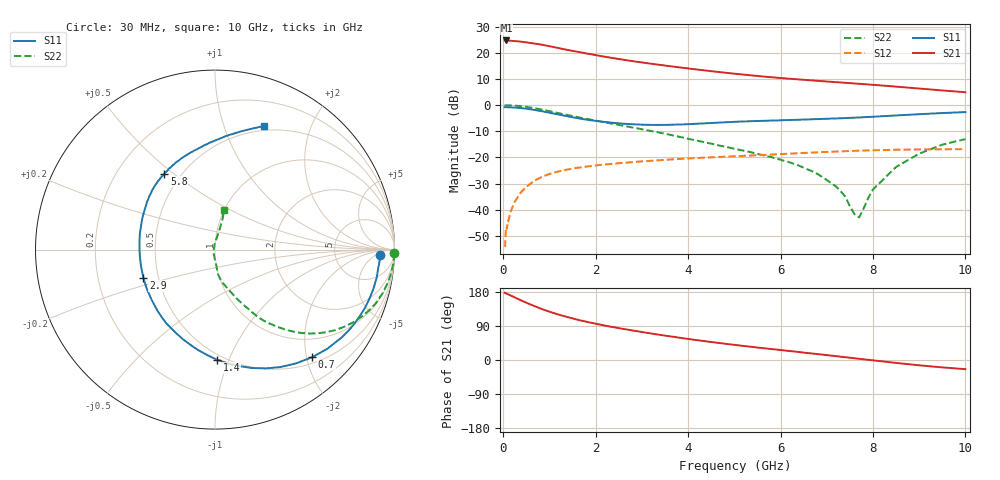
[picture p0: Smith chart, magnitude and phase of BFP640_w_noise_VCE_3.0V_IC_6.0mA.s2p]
! (c) 2013  Infineon Technologies AG, Munich
! Infineon Technologies  Discrete & RF Semiconductors
! BFP640
! VCE =  3.0 V,  IC =  6.0 mA
! Common Emitter S-Parameters:  Apr 2013
# GHz  S  MA  R  50
!  f  S11  S21  S12  S22
! GHz  MAG  ANG  MAG  ANG  MAG  ANG  MAG  ANG
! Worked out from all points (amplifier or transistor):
!   99 points, 30 MHz to 10 GHz, reference 50 ohm
!   highest |S21| = 24.8 dB at 70 MHz (marker M1)
!   |S21| within 3 dB of that: start of sweep to 1.22 GHz
!   unconditionally stable (mu >= 1): 4.646 GHz to end of sweep
!   at 350 MHz: K = 0.10, MSG = 29.3 dB, |S12| = -34.1 dB
!   at 3.5 GHz: K = 0.88, MSG = 18.1 dB, |S12| = -20.9 dB
!   at 10 GHz: K = 1.13, MAG = 8.7 dB, |S12| = -16.8 dB
!   lowest NFmin = 0.56 dB at 450 MHz
!   S11 on the Smith chart (normalised r, x): 30 MHz: 20, -8; 700 MHz: 0.61, -2.10; 1.4 GHz: 0.46, -0.91; 2.9 GHz: 0.41, -0.16; 5.8 GHz: 0.41, +0.47; 10 GHz: 0.45, +1.37
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0.03  0.9185 -2.0  17.29 177.5  0.0021 84.5  0.997 -1.2
0.07  0.9179 -5.0  17.42 175.4  0.0047 94.3  0.9985 -3.0
0.25  0.9031 -17.6  16.95 165.1  0.0141 82.4  0.9817 -10.5
0.4  0.8795 -28.0  16.48 156.6  0.0223 75.9  0.9534 -16.6
0.5  0.8591 -34.7  16.02 151.2  0.0273 72.6  0.93 -20.6
0.7  0.8073 -48.0  15.09 141.0  0.0368 65.7  0.871 -27.7
0.8  0.778 -54.6  14.62 136.2  0.041 62.3  0.8383 -30.9
1  0.7195 -66.9  13.53 127.5  0.0482 56.5  0.7711 -36.7
1.2  0.6626 -78.3  12.44 119.7  0.054 51.6  0.7046 -41.6
1.4  0.6137 -88.9  11.43 113.0  0.0589 47.7  0.6478 -45.4
1.7  0.5475 -104.6  10.21 103.7  0.065 42.7  0.571 -49.9
2.2  0.4791 -128.3  8.496 90.8  0.0733 36.5  0.4694 -56.2
2.9  0.4291 -158.4  6.791 75.9  0.0829 30.2  0.3621 -61.7
3.4  0.4203 -178.6  5.918 66.2  0.0888 26.4  0.2967 -66.2
4.2  0.443 155.3  4.827 52.3  0.0976 20.7  0.209 -74.3
5.1  0.4852 134.8  3.944 38.5  0.1063 15.1  0.1406 -82.7
5.8  0.5089 123.6  3.439 28.9  0.1135 11.2  0.1014 -84.5
6.7  0.5393 111.0  2.981 16.9  0.1242 5.4  0.0538 -91.0
7.7  0.5846 95.9  2.575 3.2  0.1347 -2.2  0.0071 159.9
8  0.6023 91.2  2.464 -0.9  0.1372 -4.5  0.0243 97.8
8.5  0.6378 84.1  2.275 -7.7  0.1406 -8.6  0.0658 81.4
10  0.7392 68.5  1.777 -24.2  0.1443 -18.2  0.2251 77.2
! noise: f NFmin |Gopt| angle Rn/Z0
0.45  0.56  0.4  11  0.09
0.9  0.58  0.4  20  0.09
1.5  0.6  0.35  32  0.09
1.9  0.63  0.3  50  0.09
2.4  0.69  0.27  58  0.09
3.5  0.83  0.22  81  0.09
5.5  1.09  0.26  -150  0.11
10  1.75  0.61  -63  0.42
